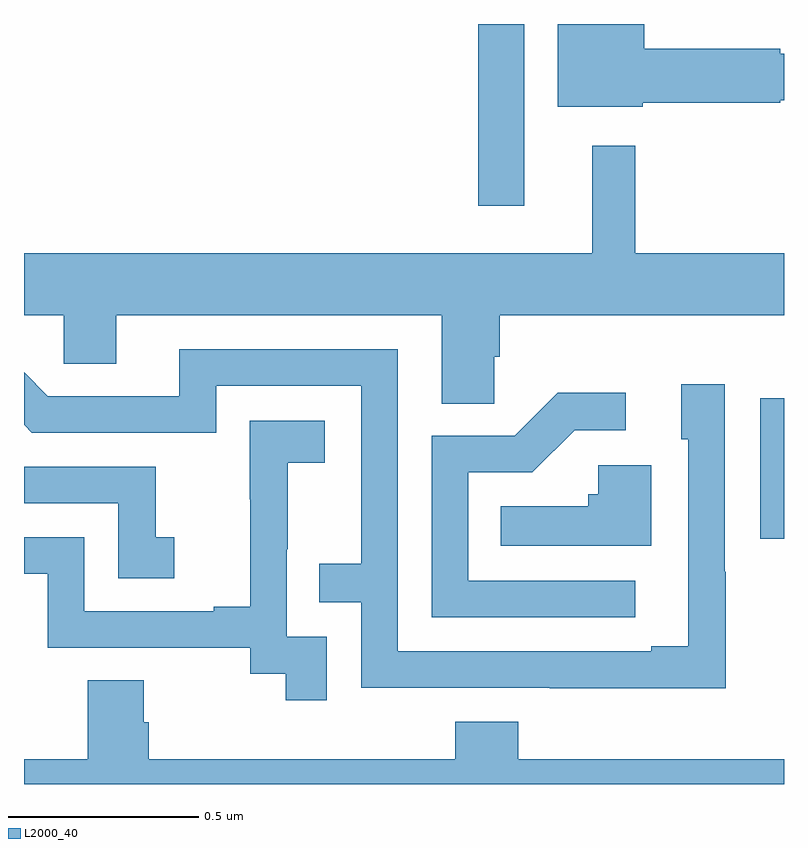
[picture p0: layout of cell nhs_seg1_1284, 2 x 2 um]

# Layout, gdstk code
import gdstk
lib = gdstk.Library(unit=1e-6, precision=1e-09)
def R(c, l, rs):  # rectangles x0, y0, x1, y1
    for r in rs: c.add(gdstk.rectangle(r[:2], r[2:], *l))
def P(c, l, *ps):  # polygons
    for p in ps: c.add(gdstk.Polygon(p, *l))
L2000_40 = (2000, 40)

nhs_seg1_1284 = lib.new_cell('nhs_seg1_1284')
R(nhs_seg1_1284, L2000_40, [(128.937,517.845,129,518.214), (128.196,518.721,128.317,519.199)])
P(nhs_seg1_1284, L2000_40, [(128.628,518.992),(128.99,518.992),(128.99,518.999),(129,518.999),(129,519.121),(128.99,519.121),(128.99,519.134),(128.632,519.134),(128.632,519.199),(128.405,519.199),(128.405,518.981),(128.628,518.981)],
  [(128.238,518.323),(128.252,518.323),(128.252,518.432),(129,518.432),(129,518.596),(128.609,518.596),(128.609,518.878),(128.495,518.878),(128.495,518.596),(127,518.596),(127,518.432),(127.104,518.432),(127.104,518.305),(127.243,518.305),(127.243,518.432),(128.099,518.432),(128.099,518.2),(128.238,518.2)],
  [(128.847,517.757),(128.844,517.757),(128.844,518.251),(128.729,518.251),(128.729,518.106),(128.748,518.106),(128.748,517.561),(128.651,517.561),(128.651,517.548),(127.983,517.548),(127.983,518.343),(127.409,518.343),(127.409,518.22),(127.062,518.22),(127,518.282),(127,518.144),(127.02,518.124),(127.506,518.124),(127.506,518.247),(127.887,518.247),(127.887,517.778),(127.777,517.778),(127.777,517.677),(127.887,517.677),(127.887,517.452),(128.383,517.452),(128.383,517.451),(128.847,517.451)],
  [(128.608,517.734),(128.169,517.734),(128.169,518.019),(128.338,518.019),(128.449,518.13),(128.584,518.13),(128.584,518.228),(128.405,518.228),(128.292,518.115),(128.073,518.115),(128.073,517.638),(128.608,517.638)],
  [(127.797,517.587),(127.692,517.587),(127.692,517.817),(127.694,517.817),(127.694,518.045),(127.792,518.045),(127.792,518.155),(127.594,518.155),(127.594,517.949),(127.595,517.949),(127.595,517.666),(127.499,517.666),(127.499,517.653),(127.158,517.653),(127.158,517.848),(127,517.848),(127,517.752),(127.062,517.752),(127.062,517.557),(127.596,517.557),(127.596,517.489),(127.689,517.489),(127.689,517.419),(127.797,517.419)],
  [(128.65,518.038),(128.511,518.038),(128.511,517.962),(128.485,517.962),(128.485,517.93),(128.254,517.93),(128.254,517.826),(128.65,517.826)],
  [(127.396,517.849),(127.347,517.849),(127.347,518.034),(127,518.034),(127,517.938),(127.248,517.938),(127.248,517.74),(127.396,517.74)],
  [(129,517.264),(128.3,517.264),(128.3,517.363),(128.135,517.363),(128.135,517.264),(127.328,517.264),(127.328,517.362),(127.315,517.362),(127.315,517.472),(127.168,517.472),(127.168,517.264),(127,517.264),(127,517.199),(129,517.199)])

lib.write_gds('nhs_seg1_1284.gds')
